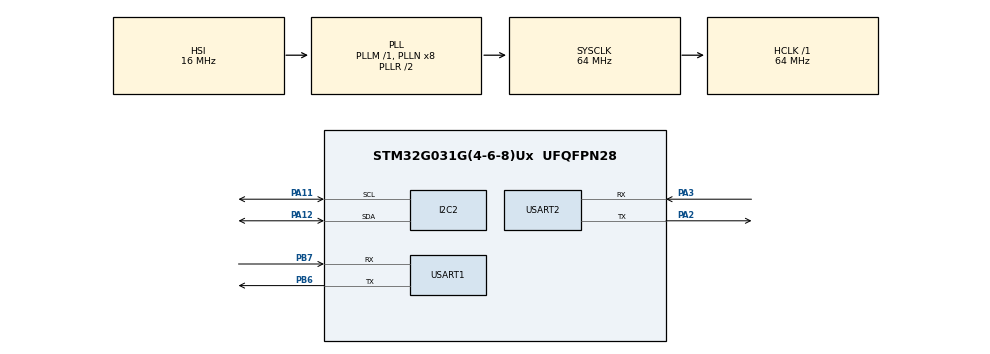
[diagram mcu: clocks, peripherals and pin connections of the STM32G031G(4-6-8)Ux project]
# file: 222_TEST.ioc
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Dma.Request0=USART1_RX
Dma.USART1_RX.0.Direction=DMA_PERIPH_TO_MEMORY
Dma.USART1_RX.0.EventEnable=DISABLE
Dma.USART1_RX.0.Instance=DMA1_Channel1
Dma.USART1_RX.0.MemDataAlignment=DMA_MDATAALIGN_BYTE
Dma.USART1_RX.0.MemInc=DMA_MINC_ENABLE
Dma.USART1_RX.0.Mode=DMA_NORMAL
Dma.USART1_RX.0.PeriphDataAlignment=DMA_PDATAALIGN_BYTE
Dma.USART1_RX.0.PeriphInc=DMA_PINC_DISABLE
Dma.USART1_RX.0.Polarity=HAL_DMAMUX_REQ_GEN_RISING
Dma.USART1_RX.0.Priority=DMA_PRIORITY_LOW
Dma.USART1_RX.0.RequestNumber=1
Dma.USART1_RX.0.SignalID=NONE
Dma.USART1_RX.0.SyncEnable=DISABLE
Dma.USART1_RX.0.SyncPolarity=HAL_DMAMUX_SYNC_NO_EVENT
Dma.USART1_RX.0.SyncRequestNumber=1
Dma.USART1_RX.0.SyncSignalID=NONE
I2C2.Timing=0x10B17DB5
Mcu.Family=STM32G0
Mcu.Name=STM32G031G(4-6-8)Ux
Mcu.Package=UFQFPN28
NVIC.DMA1_Channel1_IRQn=true\:1\:0\:true\:false\:true\:false\:true\:true
NVIC.USART1_IRQn=true\:0\:0\:false\:false\:true\:true\:true\:true
PA11\ [PA9].Mode=I2C
PA11\ [PA9].Signal=I2C2_SCL
PA12\ [PA10].Mode=I2C
PA12\ [PA10].Signal=I2C2_SDA
PA13.Mode=Serial_Wire
PA13.Signal=SYS_SWDIO
PA14-BOOT0.Mode=Serial_Wire
PA14-BOOT0.Signal=SYS_SWCLK
PA2.Mode=Asynchronous
PA2.Signal=USART2_TX
PA3.Mode=Asynchronous
PA3.Signal=USART2_RX
PB6.Mode=Asynchronous
PB6.Signal=USART1_TX
PB7.Mode=Asynchronous
PB7.Signal=USART1_RX
ProjectManager.HeapSize=0x200
ProjectManager.StackSize=0x400
ProjectManager.TargetToolchain=MDK-ARM V5.32
RCC.ADCFreq_Value=64000000
RCC.AHBFreq_Value=64000000
RCC.CortexFreq_Value=64000000
RCC.EXTERNAL_CLOCK_VALUE=12288000
RCC.HCLKFreq_Value=64000000
RCC.HSE_VALUE=8000000
RCC.HSI_VALUE=16000000
RCC.LSE_VALUE=32768
RCC.SYSCLKFreq_VALUE=64000000
RCC.SYSCLKSource=RCC_SYSCLKSOURCE_PLLCLK
RCC.VCOOutputFreq_Value=128000000
USART1.VirtualMode-Asynchronous=VM_ASYNC
USART2.VirtualMode-Asynchronous=VM_ASYNC
board=custom

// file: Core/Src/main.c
/* USER CODE BEGIN Header */
/**
  ******************************************************************************
  * @file           : main.c
  * @brief          : Main program body
  ******************************************************************************
  * @attention
  *
  * Copyright (c) 2026 STMicroelectronics.
  * All rights reserved.
  *
  * This software is licensed under terms that can be found in the LICENSE file
  * in the root directory of this software component.
  * If no LICENSE file comes with this software, it is provided AS-IS.
  *
  ******************************************************************************
  */
/* USER CODE END Header */
#include "main.h"
#include "dma.h"
#include "i2c.h"
#include "usart.h"
#include "gpio.h"

/* USER CODE BEGIN Includes */
#include "as5600.h"
#include "stdio.h"
#include "string.h"

/* USER CODE END Includes */

/* USER CODE BEGIN PTD */

/* 基础参数：烧录不同节点时只需修改 NODE_ID */

uint8_t g_chain_frame[FRAME_SIZE]; // 核心数据包
volatile uint8_t g_rx_ready = 0;   // 接收完成标志

uint32_t last_rx_tick = 0; // 用于记录上一次成功接收的时间点
extern DMA_HandleTypeDef hdma_usart1_rx;
/* USER CODE END PTD */

void SystemClock_Config(void);

int main(void)
{

  /* MCU Configuration--------------------------------------------------------*/

  /* Reset of all peripherals, Initializes the Flash interface and the Systick. */
  HAL_Init();

  /* Configure the system clock */
  SystemClock_Config();

  /* Initialize all configured peripherals */
  MX_GPIO_Init();
  MX_DMA_Init();
  MX_USART2_UART_Init();
  MX_I2C2_Init();
  MX_USART1_UART_Init();
  /* USER CODE BEGIN 2 */
if (NODE_ID < 8) {
    /* 1. 核心修正：重定向 DMAMUX */
    DMAMUX1_Channel0->CCR = 15;

    /* 2. 强力解锁：解决 HAL_LOCKED 问题 */
    huart1.RxState = HAL_UART_STATE_READY;
    huart1.Lock = HAL_UNLOCKED;
    hdma_usart1_rx.State = HAL_DMA_STATE_READY;
    hdma_usart1_rx.Lock = HAL_UNLOCKED;

    /* 3. 清除硬件标志 */
    USART1->ICR = USART_ICR_IDLECF | USART_ICR_ORECF | USART_ICR_NECF | USART_ICR_FECF;

    /* 4. 彻底重置并启动 DMA */
    HAL_UART_DMAStop(&huart1);
    if (HAL_UART_Receive_DMA(&huart1, g_chain_frame, FRAME_SIZE) != HAL_OK) {
        // 如果依然返回非 HAL_OK，请检查 MX_DMA_Init 的顺序
        Error_Handler();
    }
    __HAL_UART_ENABLE_IT(&huart1, UART_IT_IDLE);

    last_rx_tick = HAL_GetTick();
}
  /* USER CODE END 2 */

  /* Infinite loop */
  while (1)
  {

    /* USER CODE BEGIN 3 */
		// 1. 实时获取本地 AS5600 角度（取整 0-360）
//				uint16_t my_angle = (uint16_t)AS5600_Get_Degree();
				uint16_t my_angle = 180;

				uint32_t current_time = HAL_GetTick();

				if (NODE_ID == 8)
				{
						/* 8号模块：节拍发生器（源头） */
						memset(g_chain_frame, 0, FRAME_SIZE);
						g_chain_frame[0]  = HEAD_BYTE;  // 0xAA
						g_chain_frame[17] = TAIL_BYTE;  // 0x55

						// 填充8号位数据
						g_chain_frame[1] = (uint8_t)(my_angle >> 8);
						g_chain_frame[2] = (uint8_t)(my_angle & 0xFF);

						// 8号通过 USART2 发送给 7号
						HAL_UART_Transmit(&huart2, g_chain_frame, FRAME_SIZE, 10);

						HAL_Delay(20); // 50Hz 刷新率
				}
				else
				{
						/* 7-1号模块：链式接力与补位 */

						// --- 情况 A：成功接收到上级数据包 ---
						if (g_rx_ready == 1)
						{
								// 按照 NodeID 计算填充偏移
								int offset = 1 + (8 - NODE_ID) * 2;

								g_chain_frame[offset]     = (uint8_t)(my_angle >> 8);
								g_chain_frame[offset + 1] = (uint8_t)(my_angle & 0xFF);

								// 通过 USART2 转发给下一级
								HAL_UART_Transmit(&huart2, g_chain_frame, FRAME_SIZE, 10);

								// 状态复位
								g_rx_ready = 0;
								last_rx_tick = current_time; // 更新喂狗时间

								// 必须重新挂载 USART1 的 DMA 接收
								HAL_UART_Receive_DMA(&huart1, g_chain_frame, FRAME_SIZE);
						}

						// --- 情况 B：超时自发（上级链路断开） ---
						else if (current_time - last_rx_tick > 50)
						{
								// 构造包含自身数据的包
								memset(g_chain_frame, 0, FRAME_SIZE);
								g_chain_frame[0]  = HEAD_BYTE;
								g_chain_frame[17] = TAIL_BYTE;

								int offset = 1 + (8 - NODE_ID) * 2;
								g_chain_frame[offset]     = (uint8_t)(my_angle >> 8);
								g_chain_frame[offset + 1] = (uint8_t)(my_angle & 0xFF);

								HAL_UART_Transmit(&huart2, g_chain_frame, FRAME_SIZE, 10);

								last_rx_tick = current_time; // 喂狗，防止死循环轰炸

								// 发生超时后，强制重置 USART1 的 DMA 状态，防止 ORE 等错误挂起
								HAL_UART_DMAStop(&huart1);
								HAL_UART_Receive_DMA(&huart1, g_chain_frame, FRAME_SIZE);
						}
				}
		/* USER CODE END 3 */
	}

}

void SystemClock_Config(void)
{
  RCC_OscInitTypeDef RCC_OscInitStruct = {0};
  RCC_ClkInitTypeDef RCC_ClkInitStruct = {0};

  /** Configure the main internal regulator output voltage
  */
  HAL_PWREx_ControlVoltageScaling(PWR_REGULATOR_VOLTAGE_SCALE1);

  /** Initializes the RCC Oscillators according to the specified parameters
  * in the RCC_OscInitTypeDef structure.
  */
  RCC_OscInitStruct.OscillatorType = RCC_OSCILLATORTYPE_HSI;
  RCC_OscInitStruct.HSIState = RCC_HSI_ON;
  RCC_OscInitStruct.HSIDiv = RCC_HSI_DIV1;
  RCC_OscInitStruct.HSICalibrationValue = RCC_HSICALIBRATION_DEFAULT;
  RCC_OscInitStruct.PLL.PLLState = RCC_PLL_ON;
  RCC_OscInitStruct.PLL.PLLSource = RCC_PLLSOURCE_HSI;
  RCC_OscInitStruct.PLL.PLLM = RCC_PLLM_DIV1;
  RCC_OscInitStruct.PLL.PLLN = 8;
  RCC_OscInitStruct.PLL.PLLP = RCC_PLLP_DIV2;
  RCC_OscInitStruct.PLL.PLLQ = RCC_PLLQ_DIV2;
  RCC_OscInitStruct.PLL.PLLR = RCC_PLLR_DIV2;
  if (HAL_RCC_OscConfig(&RCC_OscInitStruct) != HAL_OK)
  {
    Error_Handler();
  }

  /** Initializes the CPU, AHB and APB buses clocks
  */
  RCC_ClkInitStruct.ClockType = RCC_CLOCKTYPE_HCLK|RCC_CLOCKTYPE_SYSCLK
                              |RCC_CLOCKTYPE_PCLK1;
  RCC_ClkInitStruct.SYSCLKSource = RCC_SYSCLKSOURCE_PLLCLK;
  RCC_ClkInitStruct.AHBCLKDivider = RCC_SYSCLK_DIV1;
  RCC_ClkInitStruct.APB1CLKDivider = RCC_HCLK_DIV1;

  if (HAL_RCC_ClockConfig(&RCC_ClkInitStruct, FLASH_LATENCY_2) != HAL_OK)
  {
    Error_Handler();
  }
}

void Error_Handler(void)
{
  __disable_irq();
  while (1)
  {
  }
}
